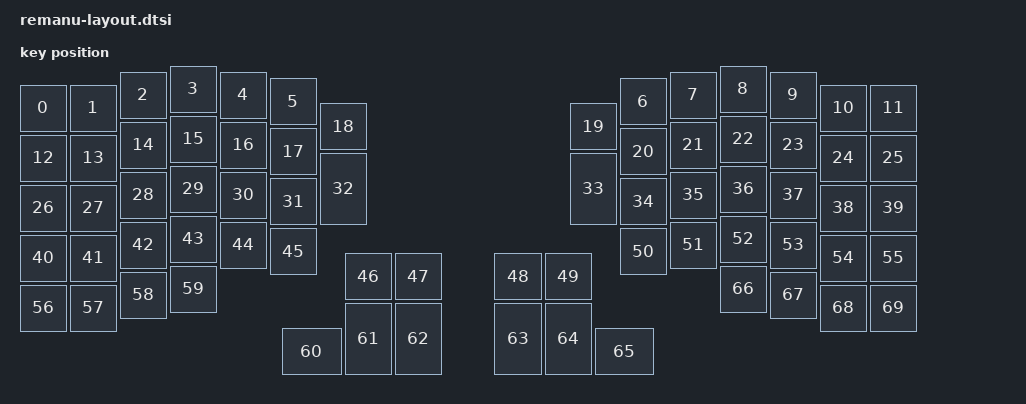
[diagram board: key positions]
#include <physical_layouts.dtsi>

/ {
    physical_layout0: physical_layout_0 {
        compatible = "zmk,physical-layout";
        display-name = "LAYOUT";

        kscan = <&kscan0>;
        transform = <&default_transform>;

        keys  //                     w   h    x    y     rot    rx    ry
            = <&key_physical_attrs 100 100    0   38       0     0     0>
            , <&key_physical_attrs 100 100  100   38       0     0     0>
            , <&key_physical_attrs 100 100  200   12       0     0     0>
            , <&key_physical_attrs 100 100  300    0       0     0     0>
            , <&key_physical_attrs 100 100  400   12       0     0     0>
            , <&key_physical_attrs 100 100  500   25       0     0     0>
            , <&key_physical_attrs 100 100 1200   25       0     0     0>
            , <&key_physical_attrs 100 100 1300   12       0     0     0>
            , <&key_physical_attrs 100 100 1400    0       0     0     0>
            , <&key_physical_attrs 100 100 1500   12       0     0     0>
            , <&key_physical_attrs 100 100 1600   38       0     0     0>
            , <&key_physical_attrs 100 100 1700   38       0     0     0>
            , <&key_physical_attrs 100 100    0  138       0     0     0>
            , <&key_physical_attrs 100 100  100  138       0     0     0>
            , <&key_physical_attrs 100 100  200  112       0     0     0>
            , <&key_physical_attrs 100 100  300  100       0     0     0>
            , <&key_physical_attrs 100 100  400  112       0     0     0>
            , <&key_physical_attrs 100 100  500  125       0     0     0>
            , <&key_physical_attrs 100 100  600   75       0     0     0>
            , <&key_physical_attrs 100 100 1100   75       0     0     0>
            , <&key_physical_attrs 100 100 1200  125       0     0     0>
            , <&key_physical_attrs 100 100 1300  112       0     0     0>
            , <&key_physical_attrs 100 100 1400  100       0     0     0>
            , <&key_physical_attrs 100 100 1500  112       0     0     0>
            , <&key_physical_attrs 100 100 1600  138       0     0     0>
            , <&key_physical_attrs 100 100 1700  138       0     0     0>
            , <&key_physical_attrs 100 100    0  238       0     0     0>
            , <&key_physical_attrs 100 100  100  238       0     0     0>
            , <&key_physical_attrs 100 100  200  212       0     0     0>
            , <&key_physical_attrs 100 100  300  200       0     0     0>
            , <&key_physical_attrs 100 100  400  212       0     0     0>
            , <&key_physical_attrs 100 100  500  225       0     0     0>
            , <&key_physical_attrs 100 150  600  175       0     0     0>
            , <&key_physical_attrs 100 150 1100  175       0     0     0>
            , <&key_physical_attrs 100 100 1200  225       0     0     0>
            , <&key_physical_attrs 100 100 1300  212       0     0     0>
            , <&key_physical_attrs 100 100 1400  200       0     0     0>
            , <&key_physical_attrs 100 100 1500  212       0     0     0>
            , <&key_physical_attrs 100 100 1600  238       0     0     0>
            , <&key_physical_attrs 100 100 1700  238       0     0     0>
            , <&key_physical_attrs 100 100    0  338       0     0     0>
            , <&key_physical_attrs 100 100  100  338       0     0     0>
            , <&key_physical_attrs 100 100  200  312       0     0     0>
            , <&key_physical_attrs 100 100  300  300       0     0     0>
            , <&key_physical_attrs 100 100  400  312       0     0     0>
            , <&key_physical_attrs 100 100  500  325       0     0     0>
            , <&key_physical_attrs 100 100  650  375       0     0     0>
            , <&key_physical_attrs 100 100  750  375       0     0     0>
            , <&key_physical_attrs 100 100  950  375       0     0     0>
            , <&key_physical_attrs 100 100 1050  375       0     0     0>
            , <&key_physical_attrs 100 100 1200  325       0     0     0>
            , <&key_physical_attrs 100 100 1300  312       0     0     0>
            , <&key_physical_attrs 100 100 1400  300       0     0     0>
            , <&key_physical_attrs 100 100 1500  312       0     0     0>
            , <&key_physical_attrs 100 100 1600  338       0     0     0>
            , <&key_physical_attrs 100 100 1700  338       0     0     0>
            , <&key_physical_attrs 100 100    0  438       0     0     0>
            , <&key_physical_attrs 100 100  100  438       0     0     0>
            , <&key_physical_attrs 100 100  200  412       0     0     0>
            , <&key_physical_attrs 100 100  300  400       0     0     0>
            , <&key_physical_attrs 125 100  525  525       0     0     0>
            , <&key_physical_attrs 100 150  650  475       0     0     0>
            , <&key_physical_attrs 100 150  750  475       0     0     0>
            , <&key_physical_attrs 100 150  950  475       0     0     0>
            , <&key_physical_attrs 100 150 1050  475       0     0     0>
            , <&key_physical_attrs 125 100 1150  525       0     0     0>
            , <&key_physical_attrs 100 100 1400  400       0     0     0>
            , <&key_physical_attrs 100 100 1500  412       0     0     0>
            , <&key_physical_attrs 100 100 1600  438       0     0     0>
            , <&key_physical_attrs 100 100 1700  438       0     0     0>
            ;
    };
};
